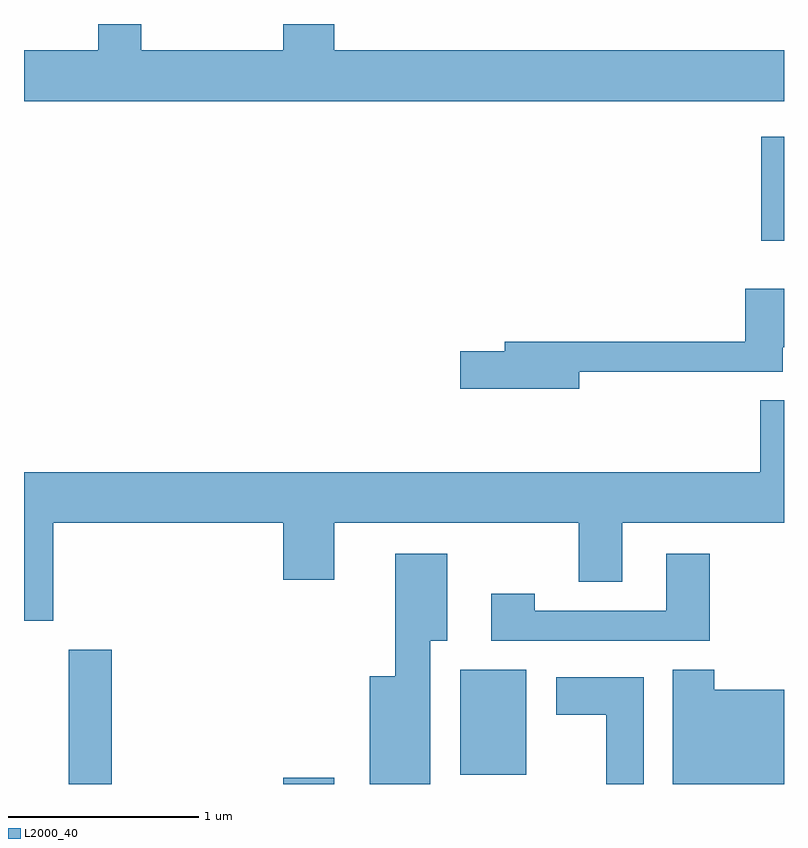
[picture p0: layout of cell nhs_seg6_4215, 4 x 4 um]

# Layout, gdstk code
import gdstk
lib = gdstk.Library(unit=1e-6, precision=1e-09)
def R(c, l, rs):  # rectangles x0, y0, x1, y1
    for r in rs: c.add(gdstk.rectangle(r[:2], r[2:], *l))
def P(c, l, *ps):  # polygons
    for p in ps: c.add(gdstk.Polygon(p, *l))
L2000_40 = (2000, 40)

nhs_seg6_4215 = lib.new_cell('nhs_seg6_4215')
R(nhs_seg6_4215, L2000_40, [(313.846,1604.162,314.074,1604.869), (314.976,1604.162,315.244,1604.194), (315.906,1604.211,316.254,1604.764), (317.491,1607.021,317.611,1607.568)])
P(nhs_seg6_4215, L2000_40, [(317.611,1608.024),(315.244,1608.024),(315.244,1608.162),(314.976,1608.162),(314.976,1608.024),(314.229,1608.024),(314.229,1608.162),(314.001,1608.162),(314.001,1608.024),(313.611,1608.024),(313.611,1607.756),(317.611,1607.756)],
  [(316.534,1606.331),(317.604,1606.331),(317.604,1606.461),(317.611,1606.461),(317.611,1606.769),(317.406,1606.769),(317.406,1606.489),(316.141,1606.489),(316.141,1606.439),(315.906,1606.439),(315.906,1606.241),(316.534,1606.241)],
  [(317.611,1606.183),(317.486,1606.183),(317.486,1605.804),(313.611,1605.804),(313.611,1605.021),(313.764,1605.021),(313.764,1605.536),(314.976,1605.536),(314.976,1605.236),(315.244,1605.236),(315.244,1605.536),(316.531,1605.536),(316.531,1605.226),(316.759,1605.226),(316.759,1605.536),(317.611,1605.536)],
  [(315.749,1604.916),(315.839,1604.916),(315.839,1605.374),(315.566,1605.374),(315.566,1604.729),(315.431,1604.729),(315.431,1604.162),(315.749,1604.162)],
  [(317.219,1605.374),(316.991,1605.374),(316.991,1605.074),(316.299,1605.074),(316.299,1605.164),(316.071,1605.164),(316.071,1604.916),(317.219,1604.916)],
  [(317.611,1604.659),(317.244,1604.659),(317.244,1604.764),(317.026,1604.764),(317.026,1604.162),(317.611,1604.162)],
  [(316.874,1604.724),(316.411,1604.724),(316.411,1604.526),(316.676,1604.526),(316.676,1604.162),(316.874,1604.162)])

lib.write_gds('nhs_seg6_4215.gds')
